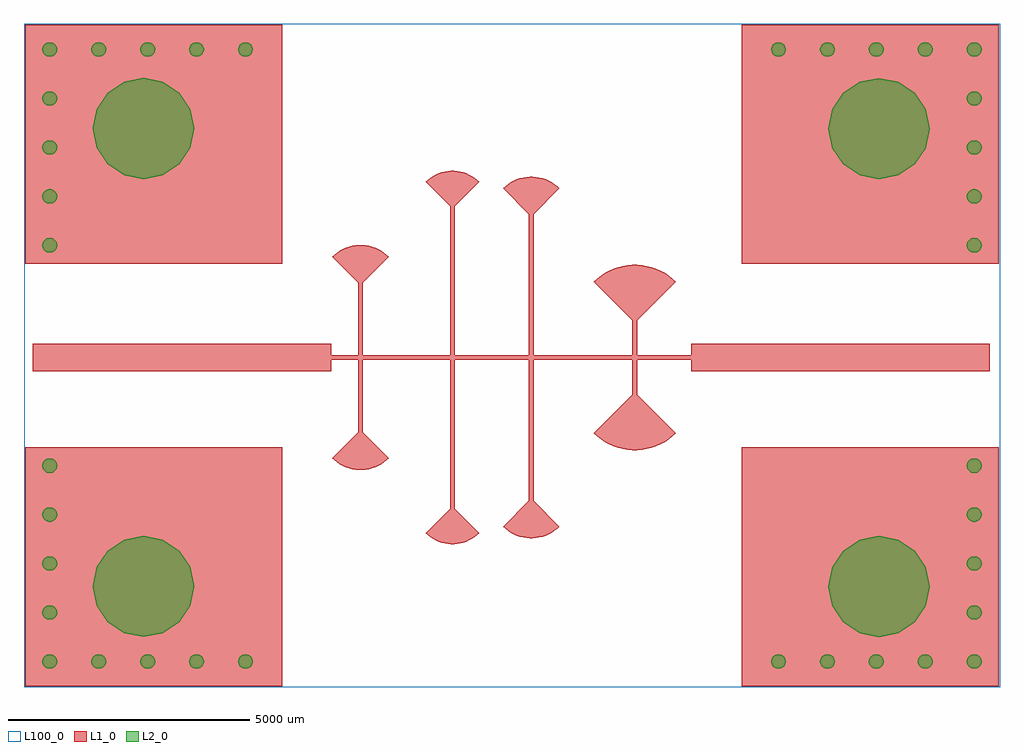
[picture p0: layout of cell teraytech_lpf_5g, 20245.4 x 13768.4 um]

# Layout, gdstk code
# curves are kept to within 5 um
import gdstk
lib = gdstk.Library(unit=1e-6, precision=1e-09)
def R(c, l, rs):  # rectangles x0, y0, x1, y1
    for r in rs: c.add(gdstk.rectangle(r[:2], r[2:], *l))
def P(c, l, *ps):  # polygons
    for p in ps: c.add(gdstk.Polygon(p, *l))
L1_0 = (1, 0)
L2_0 = (2, 0)
L100_0 = (100, 0)

teraytech_lpf_5g = lib.new_cell('teraytech_lpf_5g')
R(teraytech_lpf_5g, L1_0, [(26.2,26.2,5360.2,4979.2), (14885.2,26.2,20219.2,4979.2), (26.2,8789.2,5360.2,13742.2), (14885.2,8789.2,20219.2,13742.2)])
P(teraytech_lpf_5g, L1_0, [(8984.8,2977.9),(9110.8,3004.3),(9230.7,3051.1),(9341.3,3117.1),(9439.6,3200.3),(8938.3,3701.5),(8938.3,6792.5),(9939.5,6792.5),(9939.5,6892.5),(8938.3,6892.5),(8938.3,9983.5),(9439.6,10484.7),(9341.3,10567.9),(9230.7,10633.8),(9110.8,10680.6),(8984.8,10707),(8920.6,10712.3),(8791.9,10707),(8665.9,10680.6),(8546,10633.8),(8435.4,10567.9),(8337.1,10484.7),(8838.3,9983.5),(8838.3,6892.5),(7029.8,6892.5),(7029.8,8391.3),(7569.4,8931),(7464.3,9020),(7406.6,9057.7),(7282.9,9118.2),(7150.9,9157.5),(7014.2,9174.5),(6945.3,9174.5),(6808.6,9157.5),(6676.6,9118.2),(6552.9,9057.7),(6495.2,9020),(6390.1,8931),(6929.8,8391.3),(6929.8,6892.5),(6376.2,6892.5),(6376.2,7124.8),(178.8,7124.8),(178.8,6560.1),(6376.2,6560.1),(6376.2,6792.5),(6929.8,6792.5),(6929.8,5293.6),(6390.1,4753.9),(6495.2,4664.9),(6552.9,4627.2),(6676.6,4566.7),(6808.6,4527.4),(6945.3,4510.4),(7014.2,4510.4),(7150.9,4527.4),(7282.9,4566.7),(7406.6,4627.2),(7464.3,4664.9),(7569.4,4753.9),(7029.8,5293.6),(7029.8,6792.5),(8838.3,6792.5),(8838.3,3701.5),(8337.1,3200.3),(8384.5,3156.6),(8489.3,3081.8),(8546,3051.1),(8665.9,3004.3),(8791.9,2977.9),(8856.1,2972.6)],
  [(10625.2,3099.7),(10758.6,3127.6),(10885.6,3177.2),(11002.7,3247),(11106.7,3335.1),(10573.1,3868.7),(10573.1,6792.5),(12620.5,6792.5),(12620.5,6073.5),(11819.3,5272.2),(11892.5,5204.8),(12054.3,5089.2),(12232.9,5001.9),(12327,4969.6),(12521.6,4928.8),(12720.3,4920.6),(12819.4,4928.8),(13014,4969.6),(13199.3,5041.9),(13370.1,5143.7),(13521.8,5272.2),(12720.5,6073.5),(12720.5,6792.5),(13840.6,6792.5),(13840.6,6560.1),(20034.3,6560.1),(20034.3,7124.8),(13840.6,7124.8),(13840.6,6892.5),(12720.5,6892.5),(12720.5,7611.5),(13521.8,8412.7),(13370.1,8541.3),(13286.8,8595.7),(13108.1,8683),(13014,8715.3),(12819.4,8756.1),(12620.8,8764.3),(12423.5,8739.7),(12232.9,8683),(12054.3,8595.7),(11971,8541.3),(11819.3,8412.7),(12620.5,7611.5),(12620.5,6892.5),(10573.1,6892.5),(10573.1,9816.2),(11106.7,10349.8),(11056.5,10396),(10945.6,10475.3),(10823.1,10535.1),(10692.5,10574),(10557.2,10590.9),(10489,10590.9),(10353.7,10574),(10223.1,10535.1),(10100.6,10475.3),(9989.7,10396),(9939.5,10349.8),(10473.1,9816.2),(10473.1,6892.5),(9939.5,6892.5),(9939.5,6792.5),(10473.1,6792.5),(10473.1,3868.7),(9939.5,3335.1),(10043.5,3247),(10100.6,3209.7),(10160.6,3177.2),(10287.6,3127.6),(10353.7,3110.9),(10489,3094)])
P(teraytech_lpf_5g, L2_0, [(18785.2,11590.2),(18705.2,11992.2),(18478.2,12332.2),(18137.2,12560.2),(17735.2,12640.2),(17333.2,12560.2),(16993.2,12332.2),(16765.2,11992.2),(16685.2,11590.2),(16765.2,11188.2),(16993.2,10848.2),(17333.2,10620.2),(17735.2,10540.2),(18137.2,10620.2),(18478.2,10848.2),(18705.2,11188.2)],
  [(18785.2,2090.2),(18705.2,2492.2),(18478.2,2832.2),(18137.2,3060.2),(17735.2,3140.2),(17333.2,3060.2),(16993.2,2832.2),(16765.2,2492.2),(16685.2,2090.2),(16765.2,1688.2),(16993.2,1348.2),(17333.2,1120.2),(17735.2,1040.2),(18137.2,1120.2),(18478.2,1348.2),(18705.2,1688.2)],
  [(3531.2,11595.2),(3451.2,11997.2),(3223.2,12338.2),(2883.2,12565.2),(2481.2,12645.2),(2079.2,12565.2),(1738.2,12338.2),(1511.2,11997.2),(1431.2,11595.2),(1511.2,11193.2),(1738.2,10853.2),(2079.2,10625.2),(2481.2,10545.2),(2883.2,10625.2),(3223.2,10853.2),(3451.2,11193.2)],
  [(3531.2,2095.2),(3451.2,2497.2),(3223.2,2838.2),(2883.2,3065.2),(2481.2,3145.2),(2079.2,3065.2),(1738.2,2838.2),(1511.2,2497.2),(1431.2,2095.2),(1511.2,1693.2),(1738.2,1353.2),(2079.2,1125.2),(2481.2,1045.2),(2883.2,1125.2),(3223.2,1353.2),(3451.2,1693.2)],
  [(19863.2,13234.2),(19852.2,13292.2),(19819.2,13342.2),(19769.2,13375.2),(19711.2,13386.2),(19653.2,13375.2),(19603.2,13342.2),(19570.2,13292.2),(19559.2,13234.2),(19570.2,13176.2),(19603.2,13126.2),(19653.2,13093.2),(19711.2,13082.2),(19769.2,13093.2),(19819.2,13126.2),(19852.2,13176.2)],
  [(18847.2,13234.2),(18836.2,13292.2),(18803.2,13342.2),(18753.2,13375.2),(18695.2,13386.2),(18637.2,13375.2),(18587.2,13342.2),(18554.2,13292.2),(18543.2,13234.2),(18554.2,13176.2),(18587.2,13126.2),(18637.2,13093.2),(18695.2,13082.2),(18753.2,13093.2),(18803.2,13126.2),(18836.2,13176.2)],
  [(17831.2,13234.2),(17820.2,13292.2),(17787.2,13342.2),(17737.2,13375.2),(17679.2,13386.2),(17621.2,13375.2),(17571.2,13342.2),(17538.2,13292.2),(17527.2,13234.2),(17538.2,13176.2),(17571.2,13126.2),(17621.2,13093.2),(17679.2,13082.2),(17737.2,13093.2),(17787.2,13126.2),(17820.2,13176.2)],
  [(16815.2,13234.2),(16804.2,13292.2),(16771.2,13342.2),(16721.2,13375.2),(16663.2,13386.2),(16605.2,13375.2),(16555.2,13342.2),(16522.2,13292.2),(16511.2,13234.2),(16522.2,13176.2),(16555.2,13126.2),(16605.2,13093.2),(16663.2,13082.2),(16721.2,13093.2),(16771.2,13126.2),(16804.2,13176.2)],
  [(15799.2,13234.2),(15788.2,13292.2),(15755.2,13342.2),(15705.2,13375.2),(15647.2,13386.2),(15589.2,13375.2),(15539.2,13342.2),(15506.2,13292.2),(15495.2,13234.2),(15506.2,13176.2),(15539.2,13126.2),(15589.2,13093.2),(15647.2,13082.2),(15705.2,13093.2),(15755.2,13126.2),(15788.2,13176.2)],
  [(19863.2,12218.2),(19852.2,12276.2),(19819.2,12326.2),(19769.2,12359.2),(19711.2,12370.2),(19653.2,12359.2),(19603.2,12326.2),(19570.2,12276.2),(19559.2,12218.2),(19570.2,12160.2),(19603.2,12110.2),(19653.2,12077.2),(19711.2,12066.2),(19769.2,12077.2),(19819.2,12110.2),(19852.2,12160.2)],
  [(19863.2,11202.2),(19852.2,11260.2),(19819.2,11310.2),(19769.2,11343.2),(19711.2,11354.2),(19653.2,11343.2),(19603.2,11310.2),(19570.2,11260.2),(19559.2,11202.2),(19570.2,11144.2),(19603.2,11094.2),(19653.2,11061.2),(19711.2,11050.2),(19769.2,11061.2),(19819.2,11094.2),(19852.2,11144.2)],
  [(19863.2,10186.2),(19852.2,10244.2),(19819.2,10294.2),(19769.2,10327.2),(19711.2,10338.2),(19653.2,10327.2),(19603.2,10294.2),(19570.2,10244.2),(19559.2,10186.2),(19570.2,10128.2),(19603.2,10078.2),(19653.2,10045.2),(19711.2,10034.2),(19769.2,10045.2),(19819.2,10078.2),(19852.2,10128.2)],
  [(19863.2,9170.2),(19852.2,9228.2),(19819.2,9278.2),(19769.2,9311.2),(19711.2,9322.2),(19653.2,9311.2),(19603.2,9278.2),(19570.2,9228.2),(19559.2,9170.2),(19570.2,9112.2),(19603.2,9062.2),(19653.2,9029.2),(19711.2,9018.2),(19769.2,9029.2),(19819.2,9062.2),(19852.2,9112.2)],
  [(19863.2,534.2),(19852.2,592.2),(19819.2,642.2),(19769.2,675.2),(19711.2,686.2),(19653.2,675.2),(19603.2,642.2),(19570.2,592.2),(19559.2,534.2),(19570.2,476.2),(19603.2,426.2),(19653.2,393.2),(19711.2,382.2),(19769.2,393.2),(19819.2,426.2),(19852.2,476.2)],
  [(18847.2,534.2),(18836.2,592.2),(18803.2,642.2),(18753.2,675.2),(18695.2,686.2),(18637.2,675.2),(18587.2,642.2),(18554.2,592.2),(18543.2,534.2),(18554.2,476.2),(18587.2,426.2),(18637.2,393.2),(18695.2,382.2),(18753.2,393.2),(18803.2,426.2),(18836.2,476.2)],
  [(17831.2,534.2),(17820.2,592.2),(17787.2,642.2),(17737.2,675.2),(17679.2,686.2),(17621.2,675.2),(17571.2,642.2),(17538.2,592.2),(17527.2,534.2),(17538.2,476.2),(17571.2,426.2),(17621.2,393.2),(17679.2,382.2),(17737.2,393.2),(17787.2,426.2),(17820.2,476.2)],
  [(16815.2,534.2),(16804.2,592.2),(16771.2,642.2),(16721.2,675.2),(16663.2,686.2),(16605.2,675.2),(16555.2,642.2),(16522.2,592.2),(16511.2,534.2),(16522.2,476.2),(16555.2,426.2),(16605.2,393.2),(16663.2,382.2),(16721.2,393.2),(16771.2,426.2),(16804.2,476.2)],
  [(15799.2,534.2),(15788.2,592.2),(15755.2,642.2),(15705.2,675.2),(15647.2,686.2),(15589.2,675.2),(15539.2,642.2),(15506.2,592.2),(15495.2,534.2),(15506.2,476.2),(15539.2,426.2),(15589.2,393.2),(15647.2,382.2),(15705.2,393.2),(15755.2,426.2),(15788.2,476.2)],
  [(19863.2,1550.2),(19852.2,1608.2),(19819.2,1658.2),(19769.2,1691.2),(19711.2,1702.2),(19653.2,1691.2),(19603.2,1658.2),(19570.2,1608.2),(19559.2,1550.2),(19570.2,1492.2),(19603.2,1442.2),(19653.2,1409.2),(19711.2,1398.2),(19769.2,1409.2),(19819.2,1442.2),(19852.2,1492.2)],
  [(19863.2,2566.2),(19852.2,2624.2),(19819.2,2674.2),(19769.2,2707.2),(19711.2,2718.2),(19653.2,2707.2),(19603.2,2674.2),(19570.2,2624.2),(19559.2,2566.2),(19570.2,2508.2),(19603.2,2458.2),(19653.2,2425.2),(19711.2,2414.2),(19769.2,2425.2),(19819.2,2458.2),(19852.2,2508.2)],
  [(19863.2,3582.2),(19852.2,3640.2),(19819.2,3690.2),(19769.2,3723.2),(19711.2,3734.2),(19653.2,3723.2),(19603.2,3690.2),(19570.2,3640.2),(19559.2,3582.2),(19570.2,3524.2),(19603.2,3474.2),(19653.2,3441.2),(19711.2,3430.2),(19769.2,3441.2),(19819.2,3474.2),(19852.2,3524.2)],
  [(19863.2,4598.2),(19852.2,4656.2),(19819.2,4706.2),(19769.2,4739.2),(19711.2,4750.2),(19653.2,4739.2),(19603.2,4706.2),(19570.2,4656.2),(19559.2,4598.2),(19570.2,4540.2),(19603.2,4490.2),(19653.2,4457.2),(19711.2,4446.2),(19769.2,4457.2),(19819.2,4490.2),(19852.2,4540.2)],
  [(686.2,534.2),(675.2,592.2),(642.2,642.2),(592.2,675.2),(534.2,686.2),(476.2,675.2),(426.2,642.2),(393.2,592.2),(382.2,534.2),(393.2,476.2),(426.2,426.2),(476.2,393.2),(534.2,382.2),(592.2,393.2),(642.2,426.2),(675.2,476.2)],
  [(1702.2,534.2),(1691.2,592.2),(1658.2,642.2),(1608.2,675.2),(1550.2,686.2),(1492.2,675.2),(1442.2,642.2),(1409.2,592.2),(1398.2,534.2),(1409.2,476.2),(1442.2,426.2),(1492.2,393.2),(1550.2,382.2),(1608.2,393.2),(1658.2,426.2),(1691.2,476.2)],
  [(2718.2,534.2),(2707.2,592.2),(2674.2,642.2),(2624.2,675.2),(2566.2,686.2),(2508.2,675.2),(2458.2,642.2),(2425.2,592.2),(2414.2,534.2),(2425.2,476.2),(2458.2,426.2),(2508.2,393.2),(2566.2,382.2),(2624.2,393.2),(2674.2,426.2),(2707.2,476.2)],
  [(3734.2,534.2),(3723.2,592.2),(3690.2,642.2),(3640.2,675.2),(3582.2,686.2),(3524.2,675.2),(3474.2,642.2),(3441.2,592.2),(3430.2,534.2),(3441.2,476.2),(3474.2,426.2),(3524.2,393.2),(3582.2,382.2),(3640.2,393.2),(3690.2,426.2),(3723.2,476.2)],
  [(4750.2,534.2),(4739.2,592.2),(4706.2,642.2),(4656.2,675.2),(4598.2,686.2),(4540.2,675.2),(4490.2,642.2),(4457.2,592.2),(4446.2,534.2),(4457.2,476.2),(4490.2,426.2),(4540.2,393.2),(4598.2,382.2),(4656.2,393.2),(4706.2,426.2),(4739.2,476.2)],
  [(686.2,1550.2),(675.2,1608.2),(642.2,1658.2),(592.2,1691.2),(534.2,1702.2),(476.2,1691.2),(426.2,1658.2),(393.2,1608.2),(382.2,1550.2),(393.2,1492.2),(426.2,1442.2),(476.2,1409.2),(534.2,1398.2),(592.2,1409.2),(642.2,1442.2),(675.2,1492.2)],
  [(686.2,2566.2),(675.2,2624.2),(642.2,2674.2),(592.2,2707.2),(534.2,2718.2),(476.2,2707.2),(426.2,2674.2),(393.2,2624.2),(382.2,2566.2),(393.2,2508.2),(426.2,2458.2),(476.2,2425.2),(534.2,2414.2),(592.2,2425.2),(642.2,2458.2),(675.2,2508.2)],
  [(686.2,3582.2),(675.2,3640.2),(642.2,3690.2),(592.2,3723.2),(534.2,3734.2),(476.2,3723.2),(426.2,3690.2),(393.2,3640.2),(382.2,3582.2),(393.2,3524.2),(426.2,3474.2),(476.2,3441.2),(534.2,3430.2),(592.2,3441.2),(642.2,3474.2),(675.2,3524.2)],
  [(686.2,4598.2),(675.2,4656.2),(642.2,4706.2),(592.2,4739.2),(534.2,4750.2),(476.2,4739.2),(426.2,4706.2),(393.2,4656.2),(382.2,4598.2),(393.2,4540.2),(426.2,4490.2),(476.2,4457.2),(534.2,4446.2),(592.2,4457.2),(642.2,4490.2),(675.2,4540.2)],
  [(686.2,9170.2),(675.2,9228.2),(642.2,9278.2),(592.2,9311.2),(534.2,9322.2),(476.2,9311.2),(426.2,9278.2),(393.2,9228.2),(382.2,9170.2),(393.2,9112.2),(426.2,9062.2),(476.2,9029.2),(534.2,9018.2),(592.2,9029.2),(642.2,9062.2),(675.2,9112.2)],
  [(686.2,10186.2),(675.2,10244.2),(642.2,10294.2),(592.2,10327.2),(534.2,10338.2),(476.2,10327.2),(426.2,10294.2),(393.2,10244.2),(382.2,10186.2),(393.2,10128.2),(426.2,10078.2),(476.2,10045.2),(534.2,10034.2),(592.2,10045.2),(642.2,10078.2),(675.2,10128.2)],
  [(686.2,11202.2),(675.2,11260.2),(642.2,11310.2),(592.2,11343.2),(534.2,11354.2),(476.2,11343.2),(426.2,11310.2),(393.2,11260.2),(382.2,11202.2),(393.2,11144.2),(426.2,11094.2),(476.2,11061.2),(534.2,11050.2),(592.2,11061.2),(642.2,11094.2),(675.2,11144.2)],
  [(686.2,12218.2),(675.2,12276.2),(642.2,12326.2),(592.2,12359.2),(534.2,12370.2),(476.2,12359.2),(426.2,12326.2),(393.2,12276.2),(382.2,12218.2),(393.2,12160.2),(426.2,12110.2),(476.2,12077.2),(534.2,12066.2),(592.2,12077.2),(642.2,12110.2),(675.2,12160.2)],
  [(4750.2,13234.2),(4739.2,13292.2),(4706.2,13342.2),(4656.2,13375.2),(4598.2,13386.2),(4540.2,13375.2),(4490.2,13342.2),(4457.2,13292.2),(4446.2,13234.2),(4457.2,13176.2),(4490.2,13126.2),(4540.2,13093.2),(4598.2,13082.2),(4656.2,13093.2),(4706.2,13126.2),(4739.2,13176.2)],
  [(3734.2,13234.2),(3723.2,13292.2),(3690.2,13342.2),(3640.2,13375.2),(3582.2,13386.2),(3524.2,13375.2),(3474.2,13342.2),(3441.2,13292.2),(3430.2,13234.2),(3441.2,13176.2),(3474.2,13126.2),(3524.2,13093.2),(3582.2,13082.2),(3640.2,13093.2),(3690.2,13126.2),(3723.2,13176.2)],
  [(2718.2,13234.2),(2707.2,13292.2),(2674.2,13342.2),(2624.2,13375.2),(2566.2,13386.2),(2508.2,13375.2),(2458.2,13342.2),(2425.2,13292.2),(2414.2,13234.2),(2425.2,13176.2),(2458.2,13126.2),(2508.2,13093.2),(2566.2,13082.2),(2624.2,13093.2),(2674.2,13126.2),(2707.2,13176.2)],
  [(1702.2,13234.2),(1691.2,13292.2),(1658.2,13342.2),(1608.2,13375.2),(1550.2,13386.2),(1492.2,13375.2),(1442.2,13342.2),(1409.2,13292.2),(1398.2,13234.2),(1409.2,13176.2),(1442.2,13126.2),(1492.2,13093.2),(1550.2,13082.2),(1608.2,13093.2),(1658.2,13126.2),(1691.2,13176.2)],
  [(686.2,13234.2),(675.2,13292.2),(642.2,13342.2),(592.2,13375.2),(534.2,13386.2),(476.2,13375.2),(426.2,13342.2),(393.2,13292.2),(382.2,13234.2),(393.2,13176.2),(426.2,13126.2),(476.2,13093.2),(534.2,13082.2),(592.2,13093.2),(642.2,13126.2),(675.2,13176.2)])
R(teraytech_lpf_5g, L100_0, [(0,0,20245.4,13768.4)])

lib.write_gds('teraytech_lpf_5g.gds')
